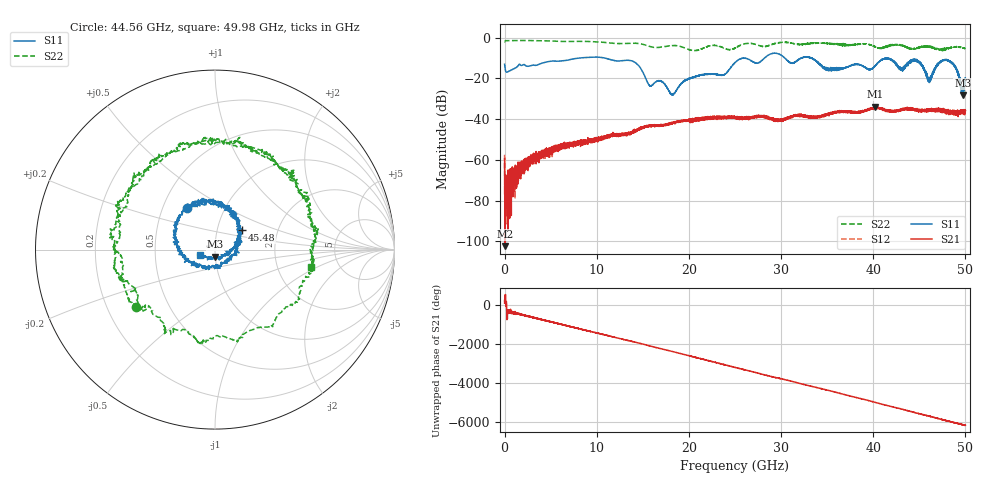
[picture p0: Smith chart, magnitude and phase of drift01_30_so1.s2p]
!Created with skrf (http://scikit-rf.org).
# Hz S RI R 50.0
!freq ReS11 ImS11 ReS21 ImS21 ReS12 ImS12 ReS22 ImS22
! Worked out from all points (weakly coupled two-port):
!   10001 points, 300 kHz to 50 GHz, reference 50 ohm
!   highest |S21| = -33.90 dB at 40.19 GHz (marker M1); lowest = -102.3 dB at 70.3 MHz (marker M2)
!   lowest |S11| = -28.3 dB at 49.71 GHz (marker M3), VSWR 1.08, Z = 49.9 - j3.85 ohm
!   |S11| at or under -10 dB: start of sweep to 8.048 GHz; 10.89 GHz to 26 GHz (15.11 GHz wide, 81.9 % of centre); 33.27 GHz to end of sweep (the widest 3 of 10)
!   |S22| runs from -6.4 to -1.4 dB; largest |S21 - S12| = 0.0041
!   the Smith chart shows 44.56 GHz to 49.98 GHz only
!   S11 on the Smith chart (normalised r, x): 44.56 GHz: 0.66, +0.33; 45.48 GHz: 1.31, +0.30; 49.98 GHz: 0.84, -0.05
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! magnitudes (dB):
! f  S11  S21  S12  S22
! 300 kHz  -13.0  -59.4  -57.5  -2.1
! 70.3 MHz  -15.5  -102.3  -88.4  -1.5
! 260.3 MHz  -16.9  -75.2  -76.5  -1.4
! 2.815 GHz  -13.8  -60.4  -58.6  -1.4
! 8.335 GHz  -9.9  -51.3  -51.5  -1.8
! 13.78 GHz  -11.4  -46.1  -46.4  -2.7
! 15.73 GHz  -23.4  -43.0  -43.3  -4.2
! 16.67 GHz  -21.1  -43.1  -43.6  -4.8
! 18.24 GHz  -27.8  -41.7  -41.7  -3.9
! 25 GHz  -12.2  -39.3  -38.9  -5.1
! 33.34 GHz  -10.1  -39.2  -39.1  -2.7
! 35.12 GHz  -15.7  -37.5  -38.0  -2.8
! 40.19 GHz  -14.0  -33.9  -34.5  -4.4
! 41.67 GHz  -10.3  -36.0  -36.1  -4.2
! 43.08 GHz  -14.9  -35.4  -35.4  -3.7
! 44.56 GHz  -11.1  -35.3  -35.0  -5.3
! 45.48 GHz  -14.6  -35.6  -35.3  -4.5
! 46.13 GHz  -20.0  -35.6  -35.4  -4.5
! 48.16 GHz  -11.2  -36.4  -36.3  -5.4
! 49.71 GHz  -28.3  -37.1  -36.4  -4.9
! 49.98 GHz  -20.9  -35.6  -36.7  -5.3
! 50 GHz  -21.4  -35.8  -36.4  -5.4
